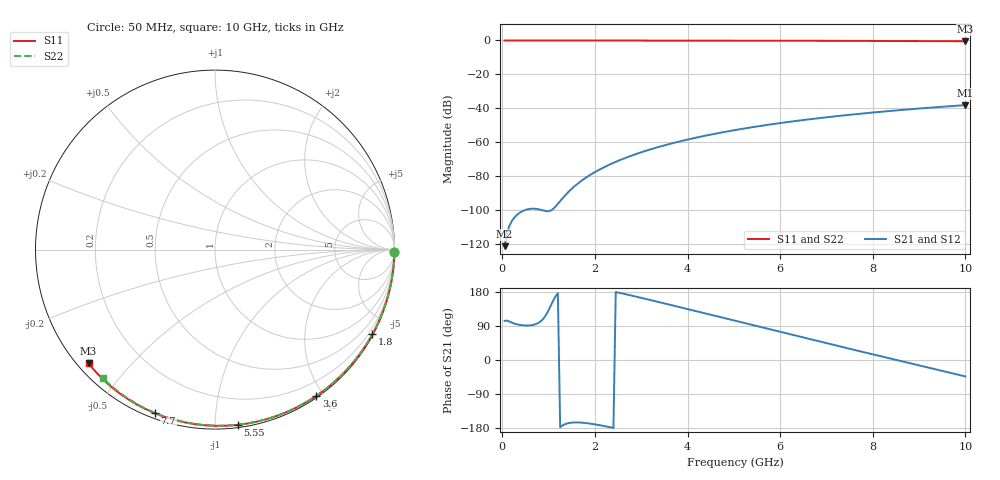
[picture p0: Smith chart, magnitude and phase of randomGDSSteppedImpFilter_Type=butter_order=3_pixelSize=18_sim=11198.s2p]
! freq	dB(S11)	phase(S11)	dB(S12)	phase(S12)
!  dB(S21)	phase(S21)	dB(S22)	phase(S22)
!S-par simulation data
#  GHz  S  DB  R 50
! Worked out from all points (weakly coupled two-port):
!   200 points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, 50 MHz to 10 GHz, reference 50 ohm
!   highest |S21| = -38.14 dB at 10 GHz (marker M1); lowest = -121.3 dB at 50 MHz (marker M2)
!   lowest |S11| = -0.5 dB at 10 GHz (marker M3), VSWR 37.42, Z = 1.53 - j19.2 ohm
!   |S11| at or under -10 dB: nowhere
!   |S22| runs from -0.4 to 0.0 dB; largest |S21 - S12| = 0
!   S11 on the Smith chart (normalised r, x): 50 MHz: open; 1.8 GHz: 0.03, -3.96; 3.6 GHz: 0.02, -1.91; 5.55 GHz: 0.02, -1.14; 7.7 GHz: 0.02, -0.70; 10 GHz: 0.03, -0.38
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0.05  -0.00 -0.8  -121.33 103.2  -121.33 103.2  -0.00 -0.8
0.45  -0.01 -7.2  -100.48 91.5  -100.48 91.5  -0.01 -6.8
0.9  -0.02 -14.3  -100.38 111.1  -100.38 111.1  -0.02 -13.6
1.75  -0.04 -27.5  -81.96 -165.7  -81.96 -165.7  -0.03 -26.2
1.8  -0.04 -28.3  -81.02 -166.3  -81.02 -166.3  -0.03 -26.9
1.85  -0.04 -29.1  -80.12 -167.1  -80.12 -167.1  -0.04 -27.6
2.15  -0.04 -33.7  -75.43 -173.1  -75.43 -173.1  -0.04 -32.0
2.35  -0.05 -36.7  -72.79 -178.0  -72.79 -178.0  -0.04 -34.9
2.55  -0.05 -39.8  -70.45 176.7  -70.45 176.7  -0.05 -37.8
2.95  -0.06 -45.7  -66.41 165.5  -66.41 165.5  -0.06 -43.5
3.4  -0.07 -52.4  -62.63 152.3  -62.63 152.3  -0.07 -49.8
3.6  -0.07 -55.3  -61.14 146.4  -61.14 146.4  -0.07 -52.6
3.9  -0.08 -59.6  -59.09 137.4  -59.09 137.4  -0.08 -56.7
4.3  -0.09 -65.3  -56.64 125.4  -56.64 125.4  -0.09 -62.2
5.05  -0.12 -75.7  -52.73 102.7  -52.73 102.7  -0.11 -72.1
5.55  -0.14 -82.5  -50.51 87.7  -50.51 87.7  -0.13 -78.6
6.1  -0.16 -89.8  -48.35 71.1  -48.35 71.1  -0.15 -85.5
6.7  -0.19 -97.6  -46.26 53.2  -46.26 53.2  -0.18 -92.9
7.7  -0.25 -110.1  -43.30 23.7  -43.30 23.7  -0.24 -104.9
8.35  -0.30 -118.1  -41.64 4.7  -41.64 4.7  -0.29 -112.5
9.2  -0.38 -128.4  -39.72 -20.0  -39.72 -20.0  -0.36 -122.2
10  -0.46 -138.0  -38.14 -43.4  -38.14 -43.4  -0.45 -131.2
